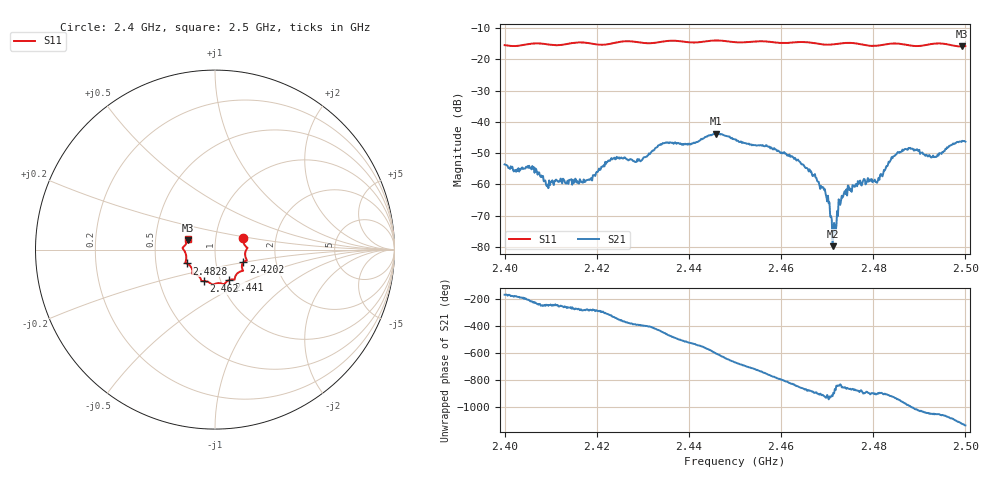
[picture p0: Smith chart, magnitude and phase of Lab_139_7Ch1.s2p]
# Hz S RI R 50
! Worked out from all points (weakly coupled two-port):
!   601 points, 2.4 GHz to 2.5 GHz, reference 50 ohm
!   highest |S21| = -43.82 dB at 2.4458 GHz (marker M1); lowest = -79.8 dB at 2.4712 GHz (marker M2)
!   lowest |S11| = -15.8 dB at 2.4993 GHz (marker M3), VSWR 1.39, Z = 36.5 + j3.86 ohm
!   |S11| at or under -10 dB: start of sweep to end of sweep
!   S12 and S22 are empty: the file has one direction only
!   S11 on the Smith chart (normalised r, x): 2.4 GHz: 1.36, +0.18; 2.4202 GHz: 1.36, -0.20; 2.441 GHz: 1.10, -0.39; 2.462 GHz: 0.84, -0.30; 2.4828 GHz: 0.72, -0.11; 2.5 GHz: 0.73, +0.09
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2.4e9  0.1575 0.0629  -0.00203 -0.000469  0 0  0 0
2.405833e9  0.1788 0.0123  -0.00143 0.00099  0 0  0 0
2.4095e9  0.1739 -0.00159  -0.000308 0.000812  0 0  0 0
2.416667e9  0.1777 -0.06  0.000152 0.00107  0 0  0 0
2.420167e9  0.1583 -0.0707  0.000452 0.00151  0 0  0 0
2.433333e9  0.1124 -0.151  0.00151 -0.00392  0 0  0 0
2.441e9  0.0786 -0.1696  -0.00457 -0.000677  0 0  0 0
2.445833e9  0.0512 -0.1949  -0.00287 0.00577  0 0  0 0
2.45e9  0.0285 -0.1872  0.00344 0.00398  0 0  0 0
2.462e9  -0.0604 -0.1755  -0.000721 -0.00267  0 0  0 0
2.466667e9  -0.0779 -0.1682  -0.00144 -0.000345  0 0  0 0
2.469667e9  -0.0923 -0.1458  -0.000601 0.000368  0 0  0 0
2.471167e9  -0.1061 -0.1378  -9.53e-05 3.74e-05  0 0  0 0
2.471667e9  -0.1105 -0.1366  -0.000179 -0.000108  0 0  0 0
2.472667e9  -0.1183 -0.1353  -0.000276 -0.000447  0 0  0 0
2.474167e9  -0.1252 -0.1352  -0.000692 -0.000459  0 0  0 0
2.482833e9  -0.1576 -0.0773  -0.00194 0.000259  0 0  0 0
2.483333e9  -0.1607 -0.0759  -0.00224 0.000533  0 0  0 0
2.486833e9  -0.1623 -0.0616  -0.000974 0.00354  0 0  0 0
2.493167e9  -0.1791 0.00475  0.00239 0.00133  0 0  0 0
2.499333e9  -0.1532 0.0514  0.00333 -0.0037  0 0  0 0
2.5e9  -0.1515 0.0612  0.00248 -0.00414  0 0  0 0
